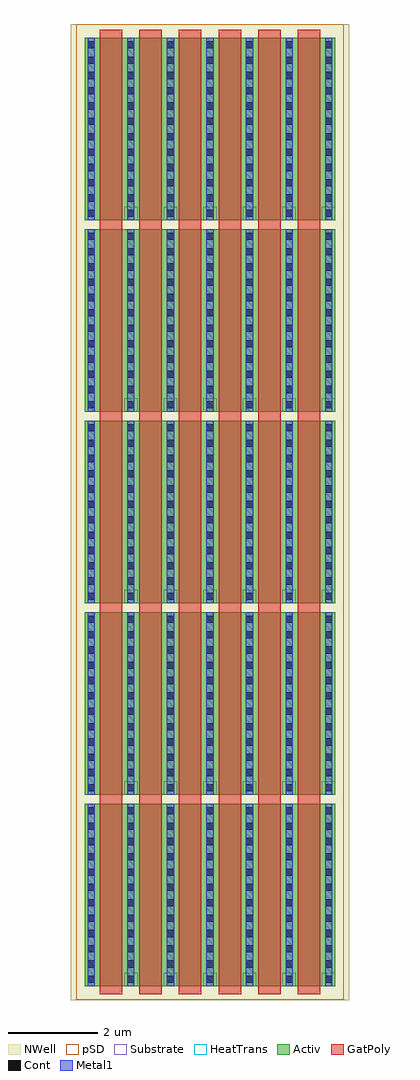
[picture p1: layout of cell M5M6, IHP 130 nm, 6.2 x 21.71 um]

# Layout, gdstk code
import gdstk
lib = gdstk.Library(unit=1e-6, precision=1e-09)
def R(c, l, rs):  # rectangles x0, y0, x1, y1
    for r in rs: c.add(gdstk.rectangle(r[:2], r[2:], *l))
def A(c, l, x, y, w, h, nx, ny, dx, dy):  # array of equal rectangles
    R(c, l, [(x+i*dx, y+j*dy, x+i*dx+w, y+j*dy+h) for i in range(nx) for j in range(ny)])
Activ = (1, 0)
GatPoly = (5, 0)
Cont = (6, 0)
Metal1 = (8, 0)
pSD = (14, 0)
NWell = (31, 0)
Substrate = (40, 0)
HeatTrans = (51, 0)

pmos_2 = lib.new_cell('pmos$2')
R(pmos_2, Activ, [(0,0,0.3,0.3), (0,0,1.18,4.05), (0.88,0,1.18,0.3)])
R(pmos_2, GatPoly, [(0.34,-0.18,0.84,4.23), (0.34,-0.18,0.84,4.23)])
A(pmos_2, Cont, 0.07, 0.07, 0.16, 0.16, 1, 6, 0, 0.34)
A(pmos_2, Cont, 0.95, 0.07, 0.16, 0.16, 1, 6, 0, 0.34)
A(pmos_2, Cont, 0.07, 2.115, 0.16, 0.16, 1, 5, 0, 0.34)
A(pmos_2, Cont, 0.95, 2.115, 0.16, 0.16, 1, 5, 0, 0.34)
R(pmos_2, Cont, [(0.07,3.82,0.23,3.98), (0.95,3.82,1.11,3.98)])
R(pmos_2, Metal1, [(0.07,0,0.23,4.05), (0.07,0,0.23,4.05), (0.95,0,1.11,4.05), (0.95,0,1.11,4.05)])
R(pmos_2, pSD, [(-0.18,-0.3,1.36,4.35)])
R(pmos_2, NWell, [(-0.31,-0.31,1.49,4.36)])
R(pmos_2, Substrate, [(0.88,0,1.18,0.3)])
R(pmos_2, HeatTrans, [(0.34,-0.18,0.84,4.23)])
pmos_2.add(gdstk.Label('pmos', (0.59,2.025), layer=63, texttype=0))
pmos_2.add(gdstk.Label('pmos', (0.59,2.025), layer=51, texttype=0))

m5m6 = lib.new_cell('M5M6')
r = gdstk.Reference(pmos_2, (-0.455,-0.12)); r.repetition = gdstk.Repetition(6, 5, v1=(0.88,0), v2=(0,4.26)); m5m6.add(r)

lib.write_gds('M5M6.gds')
